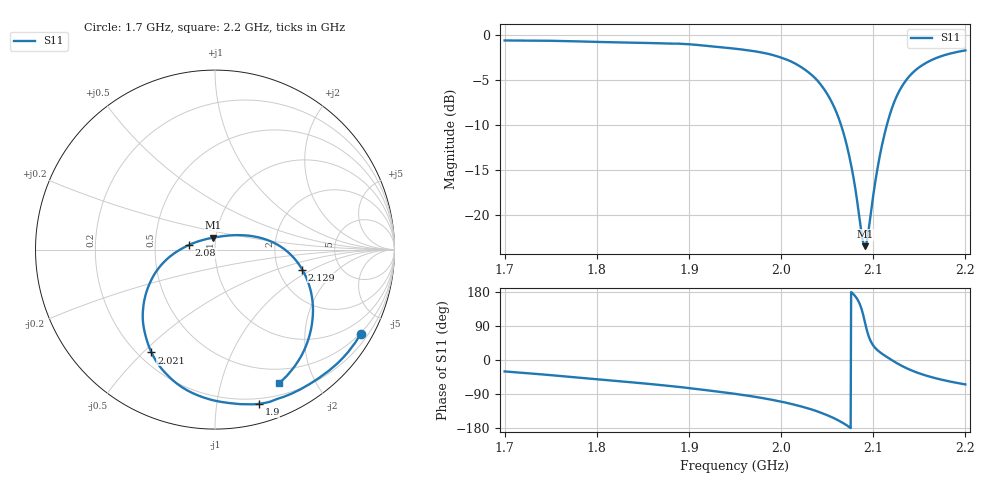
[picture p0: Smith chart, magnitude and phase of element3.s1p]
# Hz S RI R 50
! CMT, CMT808U, 21440046, 21.4.3/4
! Date: 12/1/2025 1:26:32 PM
! Data: Format (Calibration Info)
! Freq	S11:Re/Im(F2)
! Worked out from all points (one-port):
!   1001 points, 1.7 GHz to 2.2 GHz, reference 50 ohm
!   lowest |S11| = -23.4 dB at 2.091 GHz (marker M1), VSWR 1.14, Z = 48.5 + j6.48 ohm
!   |S11| at or under -10 dB: 2.065 GHz to 2.115 GHz (49.44 MHz wide, 2.37 % of centre)
!   S11 on the Smith chart (normalised r, x): 1.7 GHz: 0.47, -3.66; 1.9 GHz: 0.15, -1.31; 2.021 GHz: 0.25, -0.53; 2.08 GHz: 0.75, +0.04; 2.129 GHz: 2.72, -0.81; 2.2 GHz: 0.33, -1.54
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1.7e9  0.8112 -0.4708
1.7625e9  0.6853 -0.6307
1.825e9  0.5096 -0.7595
1.8875e9  0.3004 -0.8493
1.9e9  0.2445 -0.8593
1.95e9  0.0111 -0.8442
1.9845e9  -0.1714 -0.7745
1.999e9  -0.2505 -0.7137
2.0125e9  -0.3198 -0.6339
2.0205e9  -0.354 -0.5729
2.039e9  -0.4018 -0.3966
2.0535e9  -0.3786 -0.2254
2.065e9  -0.3052 -0.0922
2.075e9  -0.2017 -0.0043
2.08e9  -0.1442 0.0261
2.0875e9  -0.0536 0.0573
2.0895e9  -0.0294 0.0629
2.091e9  -0.0111 0.0665
2.094e9  0.0253 0.0723
2.1035e9  0.1486 0.0803
2.111e9  0.2577 0.0644
2.1195e9  0.3832 0.00483
2.129e9  0.4864 -0.1119
2.1375e9  0.5329 -0.228
2.15e9  0.5437 -0.3848
2.167e9  0.5015 -0.5499
2.183e9  0.435 -0.6618
2.2e9  0.3561 -0.745
